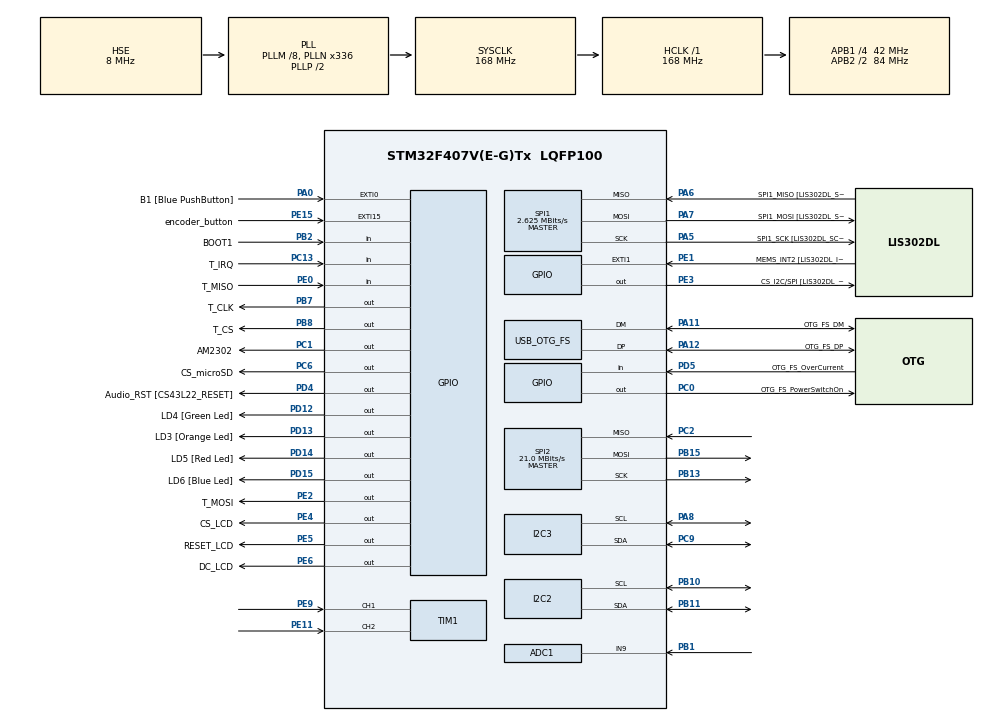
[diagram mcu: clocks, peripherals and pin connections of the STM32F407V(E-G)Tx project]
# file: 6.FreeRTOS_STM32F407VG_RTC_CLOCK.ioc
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ADC1.Channel-6\#ChannelRegularConversion=ADC_CHANNEL_9
ADC1.NbrOfConversionFlag=1
ADC1.Rank-6\#ChannelRegularConversion=1
ADC1.SamplingTime-6\#ChannelRegularConversion=ADC_SAMPLETIME_3CYCLES
ADC1.master=1
Dma.Request0=SPI2_TX
Dma.SPI2_TX.0.Direction=DMA_MEMORY_TO_PERIPH
Dma.SPI2_TX.0.FIFOMode=DMA_FIFOMODE_DISABLE
Dma.SPI2_TX.0.Instance=DMA1_Stream4
Dma.SPI2_TX.0.MemDataAlignment=DMA_MDATAALIGN_BYTE
Dma.SPI2_TX.0.MemInc=DMA_MINC_ENABLE
Dma.SPI2_TX.0.Mode=DMA_CIRCULAR
Dma.SPI2_TX.0.PeriphDataAlignment=DMA_PDATAALIGN_BYTE
Dma.SPI2_TX.0.PeriphInc=DMA_PINC_DISABLE
Dma.SPI2_TX.0.Priority=DMA_PRIORITY_LOW
FREERTOS.Queues01=UARTQueue,10,QUEUE_t,0,Static,UARTQueueBuffer,UARTQueueControlBlock;LCDQueue,1,LCDQUEUE,0,Static,LCDQueueBuffer,LCDQueueControlBlock
FREERTOS.Tasks01=defaultTask,24,128,StartDefaultTask,Default,NULL,Static,defaultTaskBuffer,defaultTaskControlBlock;Show_Resources,8,500,Start_Show_Resources,Default,NULL,Static,Show_ResourcesBuffer,Show_ResourcesControlBlock;UART_Task,8,500,Start_UART_Task,Default,NULL,Static,UART_TaskBuffer,UART_TaskControlBlock;RTC,8,256,Start_RTC,Default,NULL,Static,RTCBuffer,RTCControlBlock
FREERTOS.configGENERATE_RUN_TIME_STATS=1
FREERTOS.configTOTAL_HEAP_SIZE=16000
FREERTOS.configUSE_NEWLIB_REENTRANT=1
FREERTOS.configUSE_STATS_FORMATTING_FUNCTIONS=1
I2C2.I2C_Mode=I2C_Standard
I2C3.I2C_Mode=I2C_Fast
Mcu.Family=STM32F4
Mcu.Name=STM32F407V(E-G)Tx
Mcu.Package=LQFP100
NVIC.DMA1_Stream4_IRQn=true\:5\:0\:true\:false\:true\:true\:false\:true
NVIC.EXTI15_10_IRQn=true\:5\:0\:true\:false\:true\:true\:true\:true
NVIC.OTG_FS_IRQn=true\:5\:0\:false\:false\:true\:true\:true\:true
NVIC.PriorityGroup=NVIC_PRIORITYGROUP_4
NVIC.SPI2_IRQn=true\:5\:0\:false\:false\:true\:true\:true\:true
NVIC.TIM1_UP_TIM10_IRQn=true\:5\:0\:false\:false\:true\:false\:false\:true
NVIC.TIM3_IRQn=true\:5\:0\:false\:false\:true\:true\:true\:true
NVIC.TIM7_IRQn=true\:5\:0\:true\:false\:true\:true\:true\:true
NVIC.TIM8_TRG_COM_TIM14_IRQn=true\:15\:0\:false\:false\:true\:false\:false\:true
NVIC.TimeBase=TIM8_TRG_COM_TIM14_IRQn
NVIC.TimeBaseIP=TIM14
PA0-WKUP.GPIO_Label=B1 [Blue PushButton]
PA0-WKUP.GPIO_ModeDefaultEXTI=GPIO_MODE_EVT_RISING
PA0-WKUP.GPIO_PuPd=GPIO_NOPULL
PA0-WKUP.Signal=GPXTI0
PA10.GPIO_Label=OTG_FS_ID
PA10.GPIO_Mode=GPIO_MODE_AF_PP
PA10.GPIO_PuPd=GPIO_NOPULL
PA10.GPIO_Speed=GPIO_SPEED_FREQ_LOW
PA10.Signal=USB_OTG_FS_ID
PA11.GPIO_Label=OTG_FS_DM
PA11.GPIO_Mode=GPIO_MODE_AF_PP
PA11.GPIO_PuPd=GPIO_NOPULL
PA11.GPIO_Speed=GPIO_SPEED_FREQ_LOW
PA11.Mode=Device_Only
PA11.Signal=USB_OTG_FS_DM
PA12.GPIO_Label=OTG_FS_DP
PA12.GPIO_Mode=GPIO_MODE_AF_PP
PA12.GPIO_PuPd=GPIO_NOPULL
PA12.GPIO_Speed=GPIO_SPEED_FREQ_LOW
PA12.Mode=Device_Only
PA12.Signal=USB_OTG_FS_DP
PA13.GPIO_Label=SWDIO
PA13.Mode=Serial_Wire
PA13.Signal=SYS_JTMS-SWDIO
PA14.GPIO_Label=SWCLK
PA14.Mode=Serial_Wire
PA14.Signal=SYS_JTCK-SWCLK
PA4.GPIO_Label=I2S3_WS [CS43L22_LRCK]
PA4.GPIO_Mode=GPIO_MODE_AF_PP
PA4.GPIO_PuPd=GPIO_NOPULL
PA4.GPIO_Speed=GPIO_SPEED_FREQ_LOW
PA4.Signal=I2S3_WS
PA5.GPIO_Label=SPI1_SCK [LIS302DL_SCL/SPC]
PA5.GPIO_Mode=GPIO_MODE_AF_PP
PA5.GPIO_PuPd=GPIO_NOPULL
PA5.GPIO_Speed=GPIO_SPEED_FREQ_HIGH
PA5.Mode=Full_Duplex_Master
PA5.Signal=SPI1_SCK
PA6.GPIO_Label=SPI1_MISO [LIS302DL_SDO]
PA6.GPIO_Mode=GPIO_MODE_AF_PP
PA6.GPIO_PuPd=GPIO_NOPULL
PA6.GPIO_Speed=GPIO_SPEED_FREQ_HIGH
PA6.Mode=Full_Duplex_Master
PA6.Signal=SPI1_MISO
PA7.GPIO_Label=SPI1_MOSI [LIS302DL_SDA/SDI/SDO]
PA7.GPIO_Mode=GPIO_MODE_AF_PP
PA7.GPIO_PuPd=GPIO_NOPULL
PA7.GPIO_Speed=GPIO_SPEED_FREQ_HIGH
PA7.Mode=Full_Duplex_Master
PA7.Signal=SPI1_MOSI
PA8.Mode=I2C
PA8.Signal=I2C3_SCL
PA9.GPIO_Label=VBUS_FS
PA9.GPIO_Mode=GPIO_MODE_INPUT
PA9.GPIO_PuPd=GPIO_NOPULL
PA9.Signal=USB_OTG_FS_VBUS
PB1.Signal=ADCx_IN9
PB10.Mode=I2C
PB10.Signal=I2C2_SCL
PB11.Mode=I2C
PB11.Signal=I2C2_SDA
PB13.Mode=Full_Duplex_Master
PB13.Signal=SPI2_SCK
PB15.Mode=Full_Duplex_Master
PB15.Signal=SPI2_MOSI
PB2.GPIO_Label=BOOT1
PB2.GPIO_Mode=GPIO_MODE_INPUT
PB2.GPIO_PuPd=GPIO_NOPULL
PB2.Signal=GPIO_Input
PB3.GPIO_Label=SWO
PB3.Signal=SYS_JTDO-SWO
PB6.GPIO_Label=Audio_SCL [CS43L22_SCL]
PB6.GPIO_Mode=GPIO_MODE_AF_OD
PB6.GPIO_Pu=GPIO_PULLUP
PB6.GPIO_PuPd=GPIO_NOPULL
PB6.GPIO_Speed=GPIO_SPEED_FREQ_LOW
PB6.Signal=I2C1_SCL
PB7.GPIO_Label=T_CLK
PB7.GPIO_Speed=GPIO_SPEED_FREQ_VERY_HIGH
PB7.Signal=GPIO_Output
PB8.GPIO_Label=T_CS
PB8.GPIO_Speed=GPIO_SPEED_FREQ_VERY_HIGH
PB8.Signal=GPIO_Output
PB9.GPIO_Label=Audio_SDA [CS43L22_SDA]
PB9.GPIO_Mode=GPIO_MODE_AF_OD
PB9.GPIO_Pu=GPIO_PULLUP
PB9.GPIO_PuPd=GPIO_NOPULL
PB9.GPIO_Speed=GPIO_SPEED_FREQ_LOW
PB9.Signal=I2C1_SDA
PC0.GPIO_Label=OTG_FS_PowerSwitchOn
PC0.GPIO_PuPd=GPIO_NOPULL
PC0.GPIO_Speed=GPIO_SPEED_FREQ_LOW
PC0.PinState=GPIO_PIN_SET
PC0.Signal=GPIO_Output
PC1.GPIO_Label=AM2302
PC1.Signal=GPIO_Output
PC10.GPIO_Label=I2S3_SCK [CS43L22_SCLK]
PC10.GPIO_Mode=GPIO_MODE_AF_PP
PC10.GPIO_PuPd=GPIO_NOPULL
PC10.GPIO_Speed=GPIO_SPEED_FREQ_LOW
PC10.Signal=I2S3_CK
PC12.GPIO_Label=I2S3_SD [CS43L22_SDIN]
PC12.GPIO_Mode=GPIO_MODE_AF_PP
PC12.GPIO_PuPd=GPIO_NOPULL
PC12.GPIO_Speed=GPIO_SPEED_FREQ_LOW
PC12.Signal=I2S3_SD
PC13-ANTI_TAMP.GPIO_Label=T_IRQ
PC13-ANTI_TAMP.Signal=GPIO_Input
PC14-OSC32_IN.GPIO_Label=PC14-OSC32_IN
PC14-OSC32_IN.Mode=LSE-External-Oscillator
PC14-OSC32_IN.Signal=RCC_OSC32_IN
PC15-OSC32_OUT.GPIO_Label=PC15-OSC32_OUT
PC15-OSC32_OUT.Mode=LSE-External-Oscillator
PC15-OSC32_OUT.Signal=RCC_OSC32_OUT
PC2.Mode=Full_Duplex_Master
PC2.Signal=SPI2_MISO
PC3.GPIO_Label=PDM_OUT [MP45DT02_DOUT]
PC3.GPIO_Mode=GPIO_MODE_AF_PP
PC3.GPIO_PuPd=GPIO_NOPULL
PC3.GPIO_Speed=GPIO_SPEED_FREQ_LOW
PC3.Signal=I2S2_SD
PC6.GPIO_Label=CS_microSD
PC6.GPIO_Speed=GPIO_SPEED_FREQ_HIGH
PC6.Signal=GPIO_Output
PC7.GPIO_Label=I2S3_MCK [CS43L22_MCLK]
PC7.GPIO_Mode=GPIO_MODE_AF_PP
PC7.GPIO_PuPd=GPIO_NOPULL
PC7.GPIO_Speed=GPIO_SPEED_FREQ_LOW
PC7.Signal=I2S3_MCK
PC9.Mode=I2C
PC9.Signal=I2C3_SDA
PD12.GPIO_Label=LD4 [Green Led]
PD12.GPIO_PuPd=GPIO_NOPULL
PD12.GPIO_Speed=GPIO_SPEED_FREQ_LOW
PD12.Signal=GPIO_Output
PD13.GPIO_Label=LD3 [Orange Led]
PD13.GPIO_PuPd=GPIO_NOPULL
PD13.GPIO_Speed=GPIO_SPEED_FREQ_LOW
PD13.Signal=GPIO_Output
PD14.GPIO_Label=LD5 [Red Led]
PD14.GPIO_PuPd=GPIO_NOPULL
PD14.GPIO_Speed=GPIO_SPEED_FREQ_LOW
PD14.Signal=GPIO_Output
PD15.GPIO_Label=LD6 [Blue Led]
PD15.GPIO_PuPd=GPIO_NOPULL
PD15.GPIO_Speed=GPIO_SPEED_FREQ_LOW
PD15.Signal=GPIO_Output
PD4.GPIO_Label=Audio_RST [CS43L22_RESET]
PD4.GPIO_PuPd=GPIO_NOPULL
PD4.GPIO_Speed=GPIO_SPEED_FREQ_LOW
PD4.Signal=GPIO_Output
PD5.GPIO_Label=OTG_FS_OverCurrent
PD5.GPIO_Mode=GPIO_MODE_INPUT
PD5.GPIO_PuPd=GPIO_NOPULL
PD5.Signal=GPIO_Input
PE0.GPIO_Label=T_MISO
PE0.Signal=GPIO_Input
PE1.GPIO_Label=MEMS_INT2 [LIS302DL_INT2]
PE1.GPIO_ModeDefaultEXTI=GPIO_MODE_EVT_RISING
PE1.GPIO_PuPd=GPIO_NOPULL
PE1.Signal=GPXTI1
PE11.Signal=S_TIM1_CH2
PE15.GPIO_Label=encoder_button
PE15.GPIO_ModeDefaultEXTI=GPIO_MODE_IT_FALLING
PE15.Signal=GPXTI15
PE2.GPIO_Label=T_MOSI
PE2.Signal=GPIO_Output
PE3.GPIO_Label=CS_I2C/SPI [LIS302DL_CS_I2C/SPI]
PE3.GPIO_PuPd=GPIO_NOPULL
PE3.GPIO_Speed=GPIO_SPEED_FREQ_LOW
PE3.Signal=GPIO_Output
PE4.GPIO_Label=CS_LCD
PE4.Signal=GPIO_Output
PE5.GPIO_Label=RESET_LCD
PE5.GPIO_Speed=GPIO_SPEED_FREQ_VERY_HIGH
PE5.Signal=GPIO_Output
PE6.GPIO_Label=DC_LCD
PE6.GPIO_Speed=GPIO_SPEED_FREQ_VERY_HIGH
PE6.Signal=GPIO_Output
PE9.Signal=S_TIM1_CH1
PH0-OSC_IN.GPIO_Label=PH0-OSC_IN
PH0-OSC_IN.Mode=HSE-External-Oscillator
PH0-OSC_IN.Signal=RCC_OSC_IN
PH1-OSC_OUT.GPIO_Label=PH1-OSC_OUT
PH1-OSC_OUT.Mode=HSE-External-Oscillator
PH1-OSC_OUT.Signal=RCC_OSC_OUT
ProjectManager.HeapSize=0x800
ProjectManager.StackSize=0x900
ProjectManager.TargetToolchain=STM32CubeIDE
RCC.48MHZClocksFreq_Value=48000000
RCC.AHBFreq_Value=168000000
RCC.APB1CLKDivider=RCC_HCLK_DIV4
RCC.APB1Freq_Value=42000000
RCC.APB1TimFreq_Value=84000000
RCC.APB2CLKDivider=RCC_HCLK_DIV2
RCC.APB2Freq_Value=84000000
RCC.APB2TimFreq_Value=168000000
RCC.CortexFreq_Value=168000000
RCC.HCLKFreq_Value=168000000
RCC.HSE_VALUE=8000000
RCC.HSI_VALUE=16000000
RCC.PLLM=8
RCC.PLLN=336
RCC.PLLQ=7
RCC.RCC_RTC_Clock_Source=RCC_RTCCLKSOURCE_LSE
RCC.RCC_RTC_Clock_SourceVirtual=RCC_RTCCLKSOURCE_LSE
RCC.SYSCLKFreq_VALUE=168000000
RCC.SYSCLKSource=RCC_SYSCLKSOURCE_PLLCLK
RCC.VCOOutputFreq_Value=336000000
SH.ADCx_IN9.0=ADC1_IN9,IN9
SH.S_TIM1_CH1.0=TIM1_CH1,Encoder_Interface
SH.S_TIM1_CH2.0=TIM1_CH2,Encoder_Interface
SPI1.BaudRatePrescaler=SPI_BAUDRATEPRESCALER_32
SPI1.CalculateBaudRate=2.625 MBits/s
SPI1.Direction=SPI_DIRECTION_2LINES
SPI1.Mode=SPI_MODE_MASTER
SPI1.VirtualType=VM_MASTER
SPI2.CalculateBaudRate=21.0 MBits/s
SPI2.Direction=SPI_DIRECTION_2LINES
SPI2.Mode=SPI_MODE_MASTER
SPI2.VirtualType=VM_MASTER
TIM10.AutoReloadPreload=TIM_AUTORELOAD_PRELOAD_ENABLE
TIM10.Period=10-1
TIM10.Prescaler=168-1
TIM3.AutoReloadPreload=TIM_AUTORELOAD_PRELOAD_ENABLE
TIM3.Period=10
TIM3.Prescaler=839
TIM7.Period=100-1
TIM7.Prescaler=8400-1
USB_DEVICE.CLASS_NAME_FS=CDC
USB_DEVICE.VirtualMode-CDC_FS=Cdc
USB_DEVICE.VirtualModeFS=Cdc_FS
USB_OTG_FS.VirtualMode=Device_Only
VP_FREERTOS_VS_CMSIS_V2.Mode=CMSIS_V2
VP_RNG_VS_RNG.Mode=RNG_Activate
VP_SYS_VS_tim14.Mode=TIM14
VP_TIM10_VS_ClockSourceINT.Mode=Enable_Timer
VP_TIM3_VS_ClockSourceINT.Mode=Internal
VP_TIM7_VS_ClockSourceINT.Mode=Enable_Timer
VP_USB_DEVICE_VS_USB_DEVICE_CDC_FS.Mode=CDC_FS
board=STM32F407G-DISC1

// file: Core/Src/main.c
/* USER CODE BEGIN Header */
/**
  ******************************************************************************
  * @file           : main.c
  * @brief          : Main program body
  ******************************************************************************
  * @attention
  *
  * <h2><center>&copy; Copyright (c) 2021 STMicroelectronics.
  * All rights reserved.</center></h2>
  *
  * This software component is licensed by ST under Ultimate Liberty license
  * SLA0044, the "License"; You may not use this file except in compliance with
  * the License. You may obtain a copy of the License at:
  *                             www.st.com/SLA0044
  *
  ******************************************************************************
  */
/* USER CODE END Header */
#include "main.h"
#include "cmsis_os.h"
#include "usb_device.h"
#include "usb_device.h"

/* USER CODE BEGIN Includes */
#include "string.h"
#include "usbd_cdc_if.h"
#include "task.h"
#include <stdio.h>
#include <stdbool.h>

// Oled
#include "oled/oled.h"
#include "oled/gfx.h"

#include "clock/i2c_scanner.h"
#include "clock/DS3231.h"

/* USER CODE END Includes */

typedef StaticTask_t osStaticThreadDef_t;
typedef StaticQueue_t osStaticMessageQDef_t;
/* USER CODE BEGIN PTD */
typedef struct 							// Queue for UARD
{
	char Buf[1024];
}QUEUE_t;

typedef struct							// Queue for Touch LCD
{
	char buff[100];
}LCDQUEUE;

volatile unsigned long ulHighFreqebcyTimerTicks;		// This variable using for calculate how many time all tasks was running.
char str_management_memory_str[1000] = {0};
int freemem = 0;

// LCD //////////////////////////////////
extern uint16_t TFT9341_WIDTH;
extern uint16_t TFT9341_HEIGHT;
// LCD DMA
uint8_t dma_spi_fl=0;
uint32_t dma_spi_cnt=1;
////////////////////////////////////////

// Encoder
int32_t currCounter = 0;
int32_t prevCounter = 0;
int klick = 0;

/* USER CODE END PTD */

ADC_HandleTypeDef hadc1;

I2C_HandleTypeDef hi2c2;
I2C_HandleTypeDef hi2c3;

RNG_HandleTypeDef hrng;

SPI_HandleTypeDef hspi1;
SPI_HandleTypeDef hspi2;
DMA_HandleTypeDef hdma_spi2_tx;

TIM_HandleTypeDef htim1;
TIM_HandleTypeDef htim3;
TIM_HandleTypeDef htim7;
TIM_HandleTypeDef htim10;

/* Definitions for defaultTask */
osThreadId_t defaultTaskHandle;
uint32_t defaultTaskBuffer[ 128 ];
osStaticThreadDef_t defaultTaskControlBlock;
const osThreadAttr_t defaultTask_attributes = {
  .name = "defaultTask",
  .cb_mem = &defaultTaskControlBlock,
  .cb_size = sizeof(defaultTaskControlBlock),
  .stack_mem = &defaultTaskBuffer[0],
  .stack_size = sizeof(defaultTaskBuffer),
  .priority = (osPriority_t) osPriorityNormal,
};
/* Definitions for Show_Resources */
osThreadId_t Show_ResourcesHandle;
uint32_t Show_ResourcesBuffer[ 500 ];
osStaticThreadDef_t Show_ResourcesControlBlock;
const osThreadAttr_t Show_Resources_attributes = {
  .name = "Show_Resources",
  .cb_mem = &Show_ResourcesControlBlock,
  .cb_size = sizeof(Show_ResourcesControlBlock),
  .stack_mem = &Show_ResourcesBuffer[0],
  .stack_size = sizeof(Show_ResourcesBuffer),
  .priority = (osPriority_t) osPriorityLow,
};
/* Definitions for UART_Task */
osThreadId_t UART_TaskHandle;
uint32_t UART_TaskBuffer[ 500 ];
osStaticThreadDef_t UART_TaskControlBlock;
const osThreadAttr_t UART_Task_attributes = {
  .name = "UART_Task",
  .cb_mem = &UART_TaskControlBlock,
  .cb_size = sizeof(UART_TaskControlBlock),
  .stack_mem = &UART_TaskBuffer[0],
  .stack_size = sizeof(UART_TaskBuffer),
  .priority = (osPriority_t) osPriorityLow,
};
/* Definitions for RTC */
osThreadId_t RTCHandle;
uint32_t RTCBuffer[ 256 ];
osStaticThreadDef_t RTCControlBlock;
const osThreadAttr_t RTC_attributes = {
  .name = "RTC",
  .cb_mem = &RTCControlBlock,
  .cb_size = sizeof(RTCControlBlock),
  .stack_mem = &RTCBuffer[0],
  .stack_size = sizeof(RTCBuffer),
  .priority = (osPriority_t) osPriorityLow,
};
/* Definitions for UARTQueue */
osMessageQueueId_t UARTQueueHandle;
uint8_t UARTQueueBuffer[ 10 * sizeof( QUEUE_t ) ];
osStaticMessageQDef_t UARTQueueControlBlock;
const osMessageQueueAttr_t UARTQueue_attributes = {
  .name = "UARTQueue",
  .cb_mem = &UARTQueueControlBlock,
  .cb_size = sizeof(UARTQueueControlBlock),
  .mq_mem = &UARTQueueBuffer,
  .mq_size = sizeof(UARTQueueBuffer)
};
/* Definitions for LCDQueue */
osMessageQueueId_t LCDQueueHandle;
uint8_t LCDQueueBuffer[ 1 * sizeof( LCDQUEUE ) ];
osStaticMessageQDef_t LCDQueueControlBlock;
const osMessageQueueAttr_t LCDQueue_attributes = {
  .name = "LCDQueue",
  .cb_mem = &LCDQueueControlBlock,
  .cb_size = sizeof(LCDQueueControlBlock),
  .mq_mem = &LCDQueueBuffer,
  .mq_size = sizeof(LCDQueueBuffer)
};
/* USER CODE BEGIN PV */

//--------------------------------------------------------------------------------
// For DMA SPI2 (LCD)
void HAL_SPI_TxCpltCallback(SPI_HandleTypeDef *hspi)
{
	if(hspi == &hspi2)
	{
	    dma_spi_cnt--;
	    if(dma_spi_cnt==0)
	    {
	    	HAL_SPI_DMAStop(&hspi2);
	    	dma_spi_cnt=1;
	    	dma_spi_fl=1;
	    }
	}
}
// ---------------------------------------------------------------------------------

/* USER CODE END PV */

void SystemClock_Config(void);
static void MX_GPIO_Init(void);
static void MX_TIM3_Init(void);
static void MX_I2C3_Init(void);
static void MX_TIM10_Init(void);
static void MX_SPI1_Init(void);
static void MX_SPI2_Init(void);
static void MX_DMA_Init(void);
static void MX_RNG_Init(void);
static void MX_I2C2_Init(void);
static void MX_ADC1_Init(void);
static void MX_TIM1_Init(void);
static void MX_TIM7_Init(void);
void StartDefaultTask(void *argument);
void Start_Show_Resources(void *argument);
void Start_UART_Task(void *argument);
void Start_RTC(void *argument);

int main(void)
{

  /* MCU Configuration--------------------------------------------------------*/

  /* Reset of all peripherals, Initializes the Flash interface and the Systick. */
  HAL_Init();

  /* Configure the system clock */
  SystemClock_Config();

  /* Initialize all configured peripherals */
  MX_GPIO_Init();
  MX_TIM3_Init();
  MX_I2C3_Init();
  MX_TIM10_Init();
  MX_SPI1_Init();
  MX_SPI2_Init();
  MX_DMA_Init();
  MX_RNG_Init();
  MX_I2C2_Init();
  MX_ADC1_Init();
  MX_TIM1_Init();
  MX_TIM7_Init();
  /* USER CODE BEGIN 2 */
  HAL_TIM_Base_Start_IT(&htim3);		//  This TIM3 using for calculate how many time all tasks was running.

  /* IF LCD DOESN'T WORK !
  RIGHT IN RIGHT ORDER SPI2 AND DMA !!!!
  MX_DMA_Init();
  MX_SPI2_Init();
  */
  HAL_DMA_DeInit(&hdma_spi2_tx);
  HAL_SPI_DeInit(&hspi2);
  MX_DMA_Init();
  MX_SPI2_Init();

  /* USER CODE END 2 */

  /* Init scheduler */
  osKernelInitialize();

  /* Create the queue(s) */
  /* creation of UARTQueue */
  UARTQueueHandle = osMessageQueueNew (10, sizeof(QUEUE_t), &UARTQueue_attributes);

  /* creation of LCDQueue */
  LCDQueueHandle = osMessageQueueNew (1, sizeof(LCDQUEUE), &LCDQueue_attributes);

  /* Create the thread(s) */
  /* creation of defaultTask */
  defaultTaskHandle = osThreadNew(StartDefaultTask, NULL, &defaultTask_attributes);

  /* creation of Show_Resources */
  Show_ResourcesHandle = osThreadNew(Start_Show_Resources, NULL, &Show_Resources_attributes);

  /* creation of UART_Task */
  UART_TaskHandle = osThreadNew(Start_UART_Task, NULL, &UART_Task_attributes);

  /* creation of RTC */
  RTCHandle = osThreadNew(Start_RTC, NULL, &RTC_attributes);

  /* Start scheduler */
  osKernelStart();

  /* We should never get here as control is now taken by the scheduler */
  /* Infinite loop */
  while (1)
  {

  }
}

void SystemClock_Config(void)
{
  RCC_OscInitTypeDef RCC_OscInitStruct = {0};
  RCC_ClkInitTypeDef RCC_ClkInitStruct = {0};

  /** Configure the main internal regulator output voltage
  */
  __HAL_RCC_PWR_CLK_ENABLE();
  __HAL_PWR_VOLTAGESCALING_CONFIG(PWR_REGULATOR_VOLTAGE_SCALE1);
  /** Initializes the RCC Oscillators according to the specified parameters
  * in the RCC_OscInitTypeDef structure.
  */
  RCC_OscInitStruct.OscillatorType = RCC_OSCILLATORTYPE_HSE;
  RCC_OscInitStruct.HSEState = RCC_HSE_ON;
  RCC_OscInitStruct.PLL.PLLState = RCC_PLL_ON;
  RCC_OscInitStruct.PLL.PLLSource = RCC_PLLSOURCE_HSE;
  RCC_OscInitStruct.PLL.PLLM = 8;
  RCC_OscInitStruct.PLL.PLLN = 336;
  RCC_OscInitStruct.PLL.PLLP = RCC_PLLP_DIV2;
  RCC_OscInitStruct.PLL.PLLQ = 7;
  if (HAL_RCC_OscConfig(&RCC_OscInitStruct) != HAL_OK)
  {
    Error_Handler();
  }
  /** Initializes the CPU, AHB and APB buses clocks
  */
  RCC_ClkInitStruct.ClockType = RCC_CLOCKTYPE_HCLK|RCC_CLOCKTYPE_SYSCLK
                              |RCC_CLOCKTYPE_PCLK1|RCC_CLOCKTYPE_PCLK2;
  RCC_ClkInitStruct.SYSCLKSource = RCC_SYSCLKSOURCE_PLLCLK;
  RCC_ClkInitStruct.AHBCLKDivider = RCC_SYSCLK_DIV1;
  RCC_ClkInitStruct.APB1CLKDivider = RCC_HCLK_DIV4;
  RCC_ClkInitStruct.APB2CLKDivider = RCC_HCLK_DIV2;

  if (HAL_RCC_ClockConfig(&RCC_ClkInitStruct, FLASH_LATENCY_5) != HAL_OK)
  {
    Error_Handler();
  }
}

static void MX_ADC1_Init(void)
{

  ADC_ChannelConfTypeDef sConfig = {0};

  /** Configure the global features of the ADC (Clock, Resolution, Data Alignment and number of conversion)
  */
  hadc1.Instance = ADC1;
  hadc1.Init.ClockPrescaler = ADC_CLOCK_SYNC_PCLK_DIV4;
  hadc1.Init.Resolution = ADC_RESOLUTION_12B;
  hadc1.Init.ScanConvMode = DISABLE;
  hadc1.Init.ContinuousConvMode = DISABLE;
  hadc1.Init.DiscontinuousConvMode = DISABLE;
  hadc1.Init.ExternalTrigConvEdge = ADC_EXTERNALTRIGCONVEDGE_NONE;
  hadc1.Init.ExternalTrigConv = ADC_SOFTWARE_START;
  hadc1.Init.DataAlign = ADC_DATAALIGN_RIGHT;
  hadc1.Init.NbrOfConversion = 1;
  hadc1.Init.DMAContinuousRequests = DISABLE;
  hadc1.Init.EOCSelection = ADC_EOC_SINGLE_CONV;
  if (HAL_ADC_Init(&hadc1) != HAL_OK)
  {
    Error_Handler();
  }
  /** Configure for the selected ADC regular channel its corresponding rank in the sequencer and its sample time.
  */
  sConfig.Channel = ADC_CHANNEL_9;
  sConfig.Rank = 1;
  sConfig.SamplingTime = ADC_SAMPLETIME_3CYCLES;
  if (HAL_ADC_ConfigChannel(&hadc1, &sConfig) != HAL_OK)
  {
    Error_Handler();
  }

}

static void MX_I2C2_Init(void)
{

  hi2c2.Instance = I2C2;
  hi2c2.Init.ClockSpeed = 100000;
  hi2c2.Init.DutyCycle = I2C_DUTYCYCLE_2;
  hi2c2.Init.OwnAddress1 = 0;
  hi2c2.Init.AddressingMode = I2C_ADDRESSINGMODE_7BIT;
  hi2c2.Init.DualAddressMode = I2C_DUALADDRESS_DISABLE;
  hi2c2.Init.OwnAddress2 = 0;
  hi2c2.Init.GeneralCallMode = I2C_GENERALCALL_DISABLE;
  hi2c2.Init.NoStretchMode = I2C_NOSTRETCH_DISABLE;
  if (HAL_I2C_Init(&hi2c2) != HAL_OK)
  {
    Error_Handler();
  }

}

static void MX_I2C3_Init(void)
{

  hi2c3.Instance = I2C3;
  hi2c3.Init.ClockSpeed = 400000;
  hi2c3.Init.DutyCycle = I2C_DUTYCYCLE_2;
  hi2c3.Init.OwnAddress1 = 0;
  hi2c3.Init.AddressingMode = I2C_ADDRESSINGMODE_7BIT;
  hi2c3.Init.DualAddressMode = I2C_DUALADDRESS_DISABLE;
  hi2c3.Init.OwnAddress2 = 0;
  hi2c3.Init.GeneralCallMode = I2C_GENERALCALL_DISABLE;
  hi2c3.Init.NoStretchMode = I2C_NOSTRETCH_DISABLE;
  if (HAL_I2C_Init(&hi2c3) != HAL_OK)
  {
    Error_Handler();
  }

}

static void MX_RNG_Init(void)
{

  hrng.Instance = RNG;
  if (HAL_RNG_Init(&hrng) != HAL_OK)
  {
    Error_Handler();
  }

}

static void MX_SPI1_Init(void)
{

  /* SPI1 parameter configuration*/
  hspi1.Instance = SPI1;
  hspi1.Init.Mode = SPI_MODE_MASTER;
  hspi1.Init.Direction = SPI_DIRECTION_2LINES;
  hspi1.Init.DataSize = SPI_DATASIZE_8BIT;
  hspi1.Init.CLKPolarity = SPI_POLARITY_LOW;
  hspi1.Init.CLKPhase = SPI_PHASE_1EDGE;
  hspi1.Init.NSS = SPI_NSS_SOFT;
  hspi1.Init.BaudRatePrescaler = SPI_BAUDRATEPRESCALER_32;
  hspi1.Init.FirstBit = SPI_FIRSTBIT_MSB;
  hspi1.Init.TIMode = SPI_TIMODE_DISABLE;
  hspi1.Init.CRCCalculation = SPI_CRCCALCULATION_DISABLE;
  hspi1.Init.CRCPolynomial = 10;
  if (HAL_SPI_Init(&hspi1) != HAL_OK)
  {
    Error_Handler();
  }

}

static void MX_SPI2_Init(void)
{

  /* SPI2 parameter configuration*/
  hspi2.Instance = SPI2;
  hspi2.Init.Mode = SPI_MODE_MASTER;
  hspi2.Init.Direction = SPI_DIRECTION_2LINES;
  hspi2.Init.DataSize = SPI_DATASIZE_8BIT;
  hspi2.Init.CLKPolarity = SPI_POLARITY_LOW;
  hspi2.Init.CLKPhase = SPI_PHASE_1EDGE;
  hspi2.Init.NSS = SPI_NSS_SOFT;
  hspi2.Init.BaudRatePrescaler = SPI_BAUDRATEPRESCALER_2;
  hspi2.Init.FirstBit = SPI_FIRSTBIT_MSB;
  hspi2.Init.TIMode = SPI_TIMODE_DISABLE;
  hspi2.Init.CRCCalculation = SPI_CRCCALCULATION_DISABLE;
  hspi2.Init.CRCPolynomial = 10;
  if (HAL_SPI_Init(&hspi2) != HAL_OK)
  {
    Error_Handler();
  }

}

static void MX_TIM1_Init(void)
{

  TIM_Encoder_InitTypeDef sConfig = {0};
  TIM_MasterConfigTypeDef sMasterConfig = {0};

  htim1.Instance = TIM1;
  htim1.Init.Prescaler = 0;
  htim1.Init.CounterMode = TIM_COUNTERMODE_UP;
  htim1.Init.Period = 65535;
  htim1.Init.ClockDivision = TIM_CLOCKDIVISION_DIV1;
  htim1.Init.RepetitionCounter = 0;
  htim1.Init.AutoReloadPreload = TIM_AUTORELOAD_PRELOAD_DISABLE;
  sConfig.EncoderMode = TIM_ENCODERMODE_TI1;
  sConfig.IC1Polarity = TIM_ICPOLARITY_RISING;
  sConfig.IC1Selection = TIM_ICSELECTION_DIRECTTI;
  sConfig.IC1Prescaler = TIM_ICPSC_DIV1;
  sConfig.IC1Filter = 0;
  sConfig.IC2Polarity = TIM_ICPOLARITY_RISING;
  sConfig.IC2Selection = TIM_ICSELECTION_DIRECTTI;
  sConfig.IC2Prescaler = TIM_ICPSC_DIV1;
  sConfig.IC2Filter = 0;
  if (HAL_TIM_Encoder_Init(&htim1, &sConfig) != HAL_OK)
  {
    Error_Handler();
  }
  sMasterConfig.MasterOutputTrigger = TIM_TRGO_RESET;
  sMasterConfig.MasterSlaveMode = TIM_MASTERSLAVEMODE_DISABLE;
  if (HAL_TIMEx_MasterConfigSynchronization(&htim1, &sMasterConfig) != HAL_OK)
  {
    Error_Handler();
  }

}

static void MX_TIM3_Init(void)
{

  TIM_ClockConfigTypeDef sClockSourceConfig = {0};
  TIM_MasterConfigTypeDef sMasterConfig = {0};

  htim3.Instance = TIM3;
  htim3.Init.Prescaler = 839;
  htim3.Init.CounterMode = TIM_COUNTERMODE_UP;
  htim3.Init.Period = 10;
  htim3.Init.ClockDivision = TIM_CLOCKDIVISION_DIV1;
  htim3.Init.AutoReloadPreload = TIM_AUTORELOAD_PRELOAD_ENABLE;
  if (HAL_TIM_Base_Init(&htim3) != HAL_OK)
  {
    Error_Handler();
  }
  sClockSourceConfig.ClockSource = TIM_CLOCKSOURCE_INTERNAL;
  if (HAL_TIM_ConfigClockSource(&htim3, &sClockSourceConfig) != HAL_OK)
  {
    Error_Handler();
  }
  sMasterConfig.MasterOutputTrigger = TIM_TRGO_RESET;
  sMasterConfig.MasterSlaveMode = TIM_MASTERSLAVEMODE_DISABLE;
  if (HAL_TIMEx_MasterConfigSynchronization(&htim3, &sMasterConfig) != HAL_OK)
  {
    Error_Handler();
  }

}

static void MX_TIM7_Init(void)
{

  TIM_MasterConfigTypeDef sMasterConfig = {0};

  htim7.Instance = TIM7;
  htim7.Init.Prescaler = 8400-1;
  htim7.Init.CounterMode = TIM_COUNTERMODE_UP;
  htim7.Init.Period = 100-1;
  htim7.Init.AutoReloadPreload = TIM_AUTORELOAD_PRELOAD_DISABLE;
  if (HAL_TIM_Base_Init(&htim7) != HAL_OK)
  {
    Error_Handler();
  }
  sMasterConfig.MasterOutputTrigger = TIM_TRGO_RESET;
  sMasterConfig.MasterSlaveMode = TIM_MASTERSLAVEMODE_DISABLE;
  if (HAL_TIMEx_MasterConfigSynchronization(&htim7, &sMasterConfig) != HAL_OK)
  {
    Error_Handler();
  }

}

static void MX_TIM10_Init(void)
{

  htim10.Instance = TIM10;
  htim10.Init.Prescaler = 168-1;
  htim10.Init.CounterMode = TIM_COUNTERMODE_UP;
  htim10.Init.Period = 10-1;
  htim10.Init.ClockDivision = TIM_CLOCKDIVISION_DIV1;
  htim10.Init.AutoReloadPreload = TIM_AUTORELOAD_PRELOAD_ENABLE;
  if (HAL_TIM_Base_Init(&htim10) != HAL_OK)
  {
    Error_Handler();
  }

}

static void MX_DMA_Init(void)
{

  /* DMA controller clock enable */
  __HAL_RCC_DMA1_CLK_ENABLE();

  /* DMA interrupt init */
  /* DMA1_Stream4_IRQn interrupt configuration */
  HAL_NVIC_SetPriority(DMA1_Stream4_IRQn, 5, 0);
  HAL_NVIC_EnableIRQ(DMA1_Stream4_IRQn);

}

static void MX_GPIO_Init(void)
{
  GPIO_InitTypeDef GPIO_InitStruct = {0};

  /* GPIO Ports Clock Enable */
  __HAL_RCC_GPIOE_CLK_ENABLE();
  __HAL_RCC_GPIOC_CLK_ENABLE();
  __HAL_RCC_GPIOH_CLK_ENABLE();
  __HAL_RCC_GPIOA_CLK_ENABLE();
  __HAL_RCC_GPIOB_CLK_ENABLE();
  __HAL_RCC_GPIOD_CLK_ENABLE();

  /*Configure GPIO pin Output Level */
  HAL_GPIO_WritePin(GPIOE, T_MOSI_Pin|CS_I2C_SPI_Pin|CS_LCD_Pin|RESET_LCD_Pin
                          |DC_LCD_Pin, GPIO_PIN_RESET);

  /*Configure GPIO pin Output Level */
  HAL_GPIO_WritePin(OTG_FS_PowerSwitchOn_GPIO_Port, OTG_FS_PowerSwitchOn_Pin, GPIO_PIN_SET);

  /*Configure GPIO pin Output Level */
  HAL_GPIO_WritePin(GPIOC, AM2302_Pin|CS_microSD_Pin, GPIO_PIN_RESET);

  /*Configure GPIO pin Output Level */
  HAL_GPIO_WritePin(GPIOD, LD4_Pin|LD3_Pin|LD5_Pin|LD6_Pin
                          |Audio_RST_Pin, GPIO_PIN_RESET);

  /*Configure GPIO pin Output Level */
  HAL_GPIO_WritePin(GPIOB, T_CLK_Pin|T_CS_Pin, GPIO_PIN_RESET);

  /*Configure GPIO pins : T_MOSI_Pin CS_I2C_SPI_Pin CS_LCD_Pin */
  GPIO_InitStruct.Pin = T_MOSI_Pin|CS_I2C_SPI_Pin|CS_LCD_Pin;
  GPIO_InitStruct.Mode = GPIO_MODE_OUTPUT_PP;
  GPIO_InitStruct.Pull = GPIO_NOPULL;
  GPIO_InitStruct.Speed = GPIO_SPEED_FREQ_LOW;
  HAL_GPIO_Init(GPIOE, &GPIO_InitStruct);

  /*Configure GPIO pins : RESET_LCD_Pin DC_LCD_Pin */
  GPIO_InitStruct.Pin = RESET_LCD_Pin|DC_LCD_Pin;
  GPIO_InitStruct.Mode = GPIO_MODE_OUTPUT_PP;
  GPIO_InitStruct.Pull = GPIO_NOPULL;
  GPIO_InitStruct.Speed = GPIO_SPEED_FREQ_VERY_HIGH;
  HAL_GPIO_Init(GPIOE, &GPIO_InitStruct);

  /*Configure GPIO pin : T_IRQ_Pin */
  GPIO_InitStruct.Pin = T_IRQ_Pin;
  GPIO_InitStruct.Mode = GPIO_MODE_INPUT;
  GPIO_InitStruct.Pull = GPIO_NOPULL;
  HAL_GPIO_Init(T_IRQ_GPIO_Port, &GPIO_InitStruct);

  /*Configure GPIO pins : OTG_FS_PowerSwitchOn_Pin AM2302_Pin */
  GPIO_InitStruct.Pin = OTG_FS_PowerSwitchOn_Pin|AM2302_Pin;
  GPIO_InitStruct.Mode = GPIO_MODE_OUTPUT_PP;
  GPIO_InitStruct.Pull = GPIO_NOPULL;
  GPIO_InitStruct.Speed = GPIO_SPEED_FREQ_LOW;
  HAL_GPIO_Init(GPIOC, &GPIO_InitStruct);

  /*Configure GPIO pin : PDM_OUT_Pin */
  GPIO_InitStruct.Pin = PDM_OUT_Pin;
  GPIO_InitStruct.Mode = GPIO_MODE_AF_PP;
  GPIO_InitStruct.Pull = GPIO_NOPULL;
  GPIO_InitStruct.Speed = GPIO_SPEED_FREQ_LOW;
  GPIO_InitStruct.Alternate = GPIO_AF5_SPI2;
  HAL_GPIO_Init(PDM_OUT_GPIO_Port, &GPIO_InitStruct);

  /*Configure GPIO pin : B1_Pin */
  GPIO_InitStruct.Pin = B1_Pin;
  GPIO_InitStruct.Mode = GPIO_MODE_EVT_RISING;
  GPIO_InitStruct.Pull = GPIO_NOPULL;
  HAL_GPIO_Init(B1_GPIO_Port, &GPIO_InitStruct);

  /*Configure GPIO pin : I2S3_WS_Pin */
  GPIO_InitStruct.Pin = I2S3_WS_Pin;
  GPIO_InitStruct.Mode = GPIO_MODE_AF_PP;
  GPIO_InitStruct.Pull = GPIO_NOPULL;
  GPIO_InitStruct.Speed = GPIO_SPEED_FREQ_LOW;
  GPIO_InitStruct.Alternate = GPIO_AF6_SPI3;
  HAL_GPIO_Init(I2S3_WS_GPIO_Port, &GPIO_InitStruct);

  /*Configure GPIO pin : BOOT1_Pin */
  GPIO_InitStruct.Pin = BOOT1_Pin;
  GPIO_InitStruct.Mode = GPIO_MODE_INPUT;
  GPIO_InitStruct.Pull = GPIO_NOPULL;
  HAL_GPIO_Init(BOOT1_GPIO_Port, &GPIO_InitStruct);

  /*Configure GPIO pin : encoder_button_Pin */
  GPIO_InitStruct.Pin = encoder_button_Pin;
  GPIO_InitStruct.Mode = GPIO_MODE_IT_FALLING;
  GPIO_InitStruct.Pull = GPIO_NOPULL;
  HAL_GPIO_Init(encoder_button_GPIO_Port, &GPIO_InitStruct);

  /*Configure GPIO pins : LD4_Pin LD3_Pin LD5_Pin LD6_Pin
                           Audio_RST_Pin */
  GPIO_InitStruct.Pin = LD4_Pin|LD3_Pin|LD5_Pin|LD6_Pin
                          |Audio_RST_Pin;
  GPIO_InitStruct.Mode = GPIO_MODE_OUTPUT_PP;
  GPIO_InitStruct.Pull = GPIO_NOPULL;
  GPIO_InitStruct.Speed = GPIO_SPEED_FREQ_LOW;
  HAL_GPIO_Init(GPIOD, &GPIO_InitStruct);

  /*Configure GPIO pin : CS_microSD_Pin */
  GPIO_InitStruct.Pin = CS_microSD_Pin;
  GPIO_InitStruct.Mode = GPIO_MODE_OUTPUT_PP;
  GPIO_InitStruct.Pull = GPIO_NOPULL;
  GPIO_InitStruct.Speed = GPIO_SPEED_FREQ_HIGH;
  HAL_GPIO_Init(CS_microSD_GPIO_Port, &GPIO_InitStruct);

  /*Configure GPIO pins : I2S3_MCK_Pin I2S3_SCK_Pin I2S3_SD_Pin */
  GPIO_InitStruct.Pin = I2S3_MCK_Pin|I2S3_SCK_Pin|I2S3_SD_Pin;
  GPIO_InitStruct.Mode = GPIO_MODE_AF_PP;
  GPIO_InitStruct.Pull = GPIO_NOPULL;
  GPIO_InitStruct.Speed = GPIO_SPEED_FREQ_LOW;
  GPIO_InitStruct.Alternate = GPIO_AF6_SPI3;
  HAL_GPIO_Init(GPIOC, &GPIO_InitStruct);

  /*Configure GPIO pin : OTG_FS_OverCurrent_Pin */
  GPIO_InitStruct.Pin = OTG_FS_OverCurrent_Pin;
  GPIO_InitStruct.Mode = GPIO_MODE_INPUT;
  GPIO_InitStruct.Pull = GPIO_NOPULL;
  HAL_GPIO_Init(OTG_FS_OverCurrent_GPIO_Port, &GPIO_InitStruct);

  /*Configure GPIO pins : Audio_SCL_Pin Audio_SDA_Pin */
  GPIO_InitStruct.Pin = Audio_SCL_Pin|Audio_SDA_Pin;
  GPIO_InitStruct.Mode = GPIO_MODE_AF_OD;
  GPIO_InitStruct.Pull = GPIO_PULLUP;
  GPIO_InitStruct.Speed = GPIO_SPEED_FREQ_LOW;
  GPIO_InitStruct.Alternate = GPIO_AF4_I2C1;
  HAL_GPIO_Init(GPIOB, &GPIO_InitStruct);

  /*Configure GPIO pins : T_CLK_Pin T_CS_Pin */
  GPIO_InitStruct.Pin = T_CLK_Pin|T_CS_Pin;
  GPIO_InitStruct.Mode = GPIO_MODE_OUTPUT_PP;
  GPIO_InitStruct.Pull = GPIO_NOPULL;
  GPIO_InitStruct.Speed = GPIO_SPEED_FREQ_VERY_HIGH;
  HAL_GPIO_Init(GPIOB, &GPIO_InitStruct);

  /*Configure GPIO pin : T_MISO_Pin */
  GPIO_InitStruct.Pin = T_MISO_Pin;
  GPIO_InitStruct.Mode = GPIO_MODE_INPUT;
  GPIO_InitStruct.Pull = GPIO_NOPULL;
  HAL_GPIO_Init(T_MISO_GPIO_Port, &GPIO_InitStruct);

  /*Configure GPIO pin : MEMS_INT2_Pin */
  GPIO_InitStruct.Pin = MEMS_INT2_Pin;
  GPIO_InitStruct.Mode = GPIO_MODE_EVT_RISING;
  GPIO_InitStruct.Pull = GPIO_NOPULL;
  HAL_GPIO_Init(MEMS_INT2_GPIO_Port, &GPIO_InitStruct);

  /* EXTI interrupt init*/
  HAL_NVIC_SetPriority(EXTI15_10_IRQn, 5, 0);
  HAL_NVIC_EnableIRQ(EXTI15_10_IRQn);

}

void StartDefaultTask(void *argument)
{
  /* init code for USB_DEVICE */
  MX_USB_DEVICE_Init();
  /* USER CODE BEGIN 5 */
  /* Infinite loop */
  for(;;)
  {
	  osDelay(10);
  }
  /* USER CODE END 5 */
}

void Start_Show_Resources(void *argument)
{
  /* USER CODE BEGIN Start_Show_Resources */
  /* Infinite loop */
  for(;;)
  {
	  osDelay(5000);												// Every 5 second task management will print data

	  char str_end_of_line[3] = {'\r','\n'};
	  char str_sig = '-';
	  char buff[10] = {0};

	  QUEUE_t msg;												// Make a queue
	  memset(msg.Buf, 0, sizeof(msg.Buf));						// Fill in buff '\0'
	  strcat(msg.Buf, ">>>>> Free heap memory: ");				// Add string to another (Total heap)

	  freemem = xPortGetFreeHeapSize();							// Function return how many free memory.
	  itoa(freemem, buff, 10);
	  strcat(msg.Buf, buff);
	  strcat(msg.Buf, str_end_of_line);

	  // add a hat
	  strcat(msg.Buf, "| TASK NAME  | STATUS | PRIOR | STACK | NUM |\n\r\0");

	  vTaskList(str_management_memory_str);						// Fill in str_management_memory_str array management task information

	  // Finding the  end of string
	  uint16_t buffer_size = 0;
	  while(msg.Buf[buffer_size] != '\0')
	  {
	  	buffer_size ++;
	  }

	  // Add str_management_memory_str to queue string
	  int i = 0;
	  for(i = 0; str_management_memory_str[i] != '\0'; i++)
	  {
	  	// add data to queue
	  	msg.Buf[buffer_size + i] = str_management_memory_str[i];
	  }

	  // add a hat
	  char str_line[] = {"-----------------------\n\r"};
	  char str_head_2[] = {"| TASK NAME | ABS TIME | TASK TIME% |\n\r"};
	  strcat(msg.Buf, str_line);
	  strcat(msg.Buf, str_head_2);

	  memset(str_management_memory_str, 0, sizeof(str_management_memory_str));	// Clean buffer

	  vTaskGetRunTimeStats(str_management_memory_str);							// Function return how much time all functions running.

	  buffer_size = buffer_size + i + (sizeof(str_line)-1) + (sizeof(str_head_2)-1);
	  for(i = 0; str_management_memory_str[i] != '\0'; i++)
	  {
	  	// add data to queue
	  	msg.Buf[buffer_size + i] = str_management_memory_str[i];
	  }
	  strcat(msg.Buf, "#########################################\n\r");

	  osMessageQueuePut(UARTQueueHandle, &msg, 0, osWaitForever);					// Write data on queue (In will print on StartUART_Task task)
  }
  /* USER CODE END Start_Show_Resources */
}

void Start_UART_Task(void *argument)
{
  /* USER CODE BEGIN Start_UART_Task */
  /* Infinite loop */
  QUEUE_t msg;
  for(;;)
  {
	// osMessageQueueGet waiting data on a queue (If data are in queue so print it)
	osMessageQueueGet(UARTQueueHandle, &msg, 0, osWaitForever);			// Write for data on queue
	// Counting how many characters will be transmitted
	uint16_t buffer_size = 0;
	while(msg.Buf[buffer_size] != '\0')
	{
		buffer_size ++;
	}
	// Transmit over virtual comport
	CDC_Transmit_FS(msg.Buf, buffer_size);						// Transmit data over virtual comport
    osDelay(1);
  }
  /* USER CODE END Start_UART_Task */
}

void Start_RTC(void *argument)
{
  /* USER CODE BEGIN Start_RTC */
  /* Infinite loop */

	osDelay(1000);

	// For resd time
	char time[20] = {0};
	char date[40] = {0};
	char time_buf[10] = {0};
	char time_buf_2[10] = {0};

	uint8_t seconds = 0;
	uint8_t minutes = 0;
	uint8_t hours = 0;
	uint8_t day = 0;
	uint8_t date_day = 0;
	uint8_t mounth = 0;
	uint8_t year = 0;
	uint8_t status = 9;
	//

	oled_init();
	oled_update();
	ds3231_I2C_init();

	// Encoder
	HAL_TIM_Encoder_Start(&htim1, TIM_CHANNEL_ALL);
	int32_t prevCounter = 0;
	//

	for(;;)
	{
		switch (klick)
		{
			case 0:					// Read time and data from DS3231

				strcat(time_buf, "TIME");
				graphics_text(40, 10, 3, time_buf);
				oled_update();
				osDelay(2000);
				clear();
				oled_update();

				while(klick == 0)
				{
					memset(time, 0, sizeof(time));
					memset(date, 0, sizeof(date));
					memset(time_buf, 0, sizeof(time_buf));
					memset(time_buf_2, 0, sizeof(time_buf_2));

					// 1. Read time from RTS
					// Red status (Detect DS3231)
					uint8_t buff= 0;
					status = HAL_I2C_Mem_Read(&hi2c3, (uint16_t)DS3231_I2C_ADDRESS<<1,(uint16_t)0, (uint16_t) 1, &buff, (uint16_t) 1,(uint32_t) 1000);
					if(status != HAL_OK )								// If DS3231 doesen'e detect
					{
						clear();
						while(status != HAL_OK)							// If ERROR
						{
							strcat(time_buf, "RTC ERROR");
							graphics_text(8, 5, 3, time_buf);
							oled_update();
							memset(time_buf, 0, sizeof(time_buf));
							osDelay(300);

							invert_rectangle(0, 0, 128, 32);
							oled_update();
							osDelay(300);

							clear();
							oled_update();

							status = HAL_I2C_Mem_Read(&hi2c3, (uint16_t)DS3231_I2C_ADDRESS<<1,(uint16_t)0, (uint16_t) 1, &buff, (uint16_t) 1,(uint32_t) 1000);
						}
						clear();
					}

					else	// If all DS3231 detected, read time and date
					{
						ds3231_read(DS3231_REGISTER_SECONDS_DEFAULT, &seconds);
						ds3231_read(DS3231_REGISTER_MINUTES_DEFAULT, &minutes);
						ds3231_read(DS3231_REGISTER_HOURS_DEFAULT, &hours);

						ds3231_read(DS3231_REGISTER_DAY_OF_WEEK_DEFAULT, &day);
						ds3231_read(DS3231_REGISTER_DATE_DEFAULT, &date_day);
						ds3231_read(DS3231_REGISTER_MONTH_DEFAULT, &mounth);
						ds3231_read(DS3231_REGISTER_YEAR_DEFAULT, &year);

						// Convert in string
						// Print minutes on OLED
						if(hours < 10)
						{
							memset(time_buf, 0, sizeof(time_buf));
							sprintf(time_buf, "%c", '0');
							sprintf(time_buf_2, "%d", hours);
							strcat(time_buf, time_buf_2);
							strcat(time, time_buf);
							strcat(time, ":");
						}
						else
						{
							sprintf(time_buf, "%d", hours);
							strcat(time, time_buf);
							strcat(time, ":");
							memset(time_buf, 0, sizeof(time_buf));
						}

						// Print minutes on OLED
						if(minutes < 10)
						{
							memset(time_buf, 0, sizeof(time_buf));
							sprintf(time_buf, "%c", '0');
							sprintf(time_buf_2, "%d", minutes);
							strcat(time_buf, time_buf_2);
							strcat(time, time_buf);
							strcat(time, ":");
						}
						else
						{
							sprintf(time_buf, "%d", minutes);
							strcat(time, time_buf);
							strcat(time, ":");
							memset(time_buf, 0, sizeof(time_buf));
						}

						// Print seconds on OLED
						if(seconds == 0)
						{
							clear();
							oled_update();
						}
						if(seconds < 10)
						{
							memset(time_buf, 0, sizeof(time_buf));
							sprintf(time_buf, "%c", '0');
							sprintf(time_buf_2, "%d", seconds);
							strcat(time_buf, time_buf_2);
							strcat(time, time_buf);
						}
						else
						{
							sprintf(time_buf, "%d", seconds);
							strcat(time, time_buf);
							memset(time_buf, 0, sizeof(time_buf));
						}

						uint8_t second_line = seconds*2;
						line_h(5, second_line, 19, 2, add);
//						line_h(uint8_t x0, uint8_t x1, uint8_t y0, uint8_t width, uint8_t mode);
						//invert_rectangle(5, 15, second_line, 5);

						// Print date
						sprintf(time_buf, "%d", date_day);
						strcat(date, time_buf);
						strcat(date, ".");
						memset(time_buf, 0, sizeof(time_buf));

						sprintf(time_buf, "%d", mounth);
						strcat(date, time_buf);
						strcat(date, ".");
						memset(time_buf, 0, sizeof(time_buf));

						sprintf(time_buf, "%d", year);
						strcat(date, "20");
						strcat(date, time_buf);
						memset(time_buf, 0, sizeof(time_buf));

						// day
						switch (day)
						{
							case 1:
								strcat(date, " Monday");
								break;
							case 2:
								strcat(date, " Tuesday");
								break;
							case 3:
								strcat(date, " Wednesday");
								break;
							case 4:
								strcat(date, " Thursday");
								break;
							case 5:
								strcat(date, " Friday");
								break;
							case 6:
								strcat(date, " Saturday");
								break;
							case 7:
								strcat(date, " Sunday");
								break;
						}

						graphics_text(40, 0, 3, time);
						graphics_text(0, 24, 2, date);
						oled_update();

						osDelay(1000);
					}
				}
		  		break;

			case 1:
				// Set yer
				graphics_text(0, 0, 1, "   SET:");
				graphics_text(0, 8, 1, "YEAR   ");
				oled_update();

				__HAL_TIM_SET_COUNTER(&htim1, 0);								// Start count encoder from 0

				while(klick == 1)
				{
					currCounter = __HAL_TIM_GET_COUNTER(&htim1);
					currCounter = 32767 - ((currCounter-1) & 0xFFFF) / 2;

					if(currCounter != prevCounter)
					{
						prevCounter = currCounter;
						if(currCounter > 100)									// Encoder count from 0 to 100
						{
							__HAL_TIM_SET_COUNTER(&htim1, 0);
							currCounter = 0;
						}
						if(currCounter < 0)
						{
							__HAL_TIM_SET_COUNTER(&htim1, 0);
							currCounter = 0;
						}

						graphics_text(0, 16, 1, "           ");
						oled_update();

						sprintf(time_buf, "%d", currCounter);
						graphics_text(0, 16, 1, time_buf);
						oled_update();
						memset(time_buf, 0, sizeof(time_buf));
					}
				}
				if(klick == 2)
				{
					// write data
					ds3231_set(DS3231_REGISTER_YEAR_DEFAULT, &prevCounter);

					graphics_text(0, 16, 1, "                 ");
					oled_update();

					graphics_text(0, 16, 1, "installed");
					oled_update();

					osDelay(800);

					graphics_text(0, 16, 1, "                 ");
					oled_update();

					klick = 3;
				}
				break;

			case 3:
				// set month
				graphics_text(0, 8, 1, "MONTH");
				oled_update();

				__HAL_TIM_SET_COUNTER(&htim1, 1);								// Start count encoder from 1
				currCounter = 1;

				while(klick == 3)
				{
					currCounter = __HAL_TIM_GET_COUNTER(&htim1);
					currCounter = 32767 - ((currCounter-1) & 0xFFFF) / 2;

					if(currCounter != prevCounter)
					{
						prevCounter = currCounter;

						if(currCounter > 12)
						{
							__HAL_TIM_SET_COUNTER(&htim1, 1);
							currCounter = 1;
						}

						if(currCounter < 1)
						{
							__HAL_TIM_SET_COUNTER(&htim1, 1);
							currCounter = 1;
						}

						graphics_text(0, 16, 1, "           ");
						oled_update();

						sprintf(time_buf, "%d", currCounter);
						graphics_text(0, 16, 1, time_buf);
						oled_update();
						memset(time_buf, 0, sizeof(time_buf));

					}
				}
				if(klick == 4)
				{
					if((currCounter < 1) || (currCounter > 12))
					{
						__HAL_TIM_SET_COUNTER(&htim1, 1);
						prevCounter = 1;
					}

					// write data
					ds3231_set(DS3231_REGISTER_MONTH_DEFAULT, &prevCounter);

					graphics_text(0, 16, 1, "                 ");
					oled_update();

					graphics_text(0, 16, 1, "installed");
					oled_update();

					osDelay(800);

					graphics_text(0, 16, 1, "                 ");
					oled_update();

					klick = 5;
				}

				break;

			case 5:
				// Set date

				graphics_text(0, 8, 1, "              ");
				oled_update();
				graphics_text(0, 8, 1, "DATE");
				oled_update();

				__HAL_TIM_SET_COUNTER(&htim1, 1);								// Start count encoder from 1

				while(klick == 5)
				{
					currCounter = __HAL_TIM_GET_COUNTER(&htim1);
					currCounter = 32767 - ((currCounter-1) & 0xFFFF) / 2;

					if(currCounter != prevCounter)
					{
						prevCounter = currCounter;

						if(currCounter > 31)
						{
							__HAL_TIM_SET_COUNTER(&htim1, 1);					// Encoder count from 1 to 32
							currCounter = 1;
						}
						if(currCounter < 1)
						{
							__HAL_TIM_SET_COUNTER(&htim1, 1);					// Encoder count from 1 to 32
							currCounter = 1;
						}

						graphics_text(0, 16, 1, "           ");
						oled_update();

						sprintf(time_buf, "%d", currCounter);
						graphics_text(0, 16, 1, time_buf);
						oled_update();
						memset(time_buf, 0, sizeof(time_buf));

					}
				}
				if(klick == 6)
				{
					if((currCounter < 1) || (currCounter > 32))
					{
						__HAL_TIM_SET_COUNTER(&htim1, 1);
						prevCounter = 1;
					}

					// write data
					ds3231_set(DS3231_REGISTER_DATE_DEFAULT, &prevCounter);

					graphics_text(0, 16, 1, "                 ");
					oled_update();

					graphics_text(0, 16, 1, "installed");
					oled_update();

					osDelay(800);

					graphics_text(0, 16, 1, "                 ");
					oled_update();

					klick = 7;
				}

				break;

			case 7:
				// Set day of week

				graphics_text(0, 8, 1, "              ");
				oled_update();
				graphics_text(0, 8, 1, "DAY");
				oled_update();

				__HAL_TIM_SET_COUNTER(&htim1, 1);

				while(klick == 7)
				{
					currCounter = __HAL_TIM_GET_COUNTER(&htim1);
					currCounter = 32767 - ((currCounter-1) & 0xFFFF) / 2;

					if(currCounter != prevCounter)
					{
						prevCounter = currCounter;
						if(currCounter > 7)
						{
							__HAL_TIM_SET_COUNTER(&htim1, 1);
							currCounter = 1;
						}
						if(currCounter < 1)
						{
							__HAL_TIM_SET_COUNTER(&htim1, 1);
							currCounter = 1;
						}

						graphics_text(0, 16, 1, "           ");
						oled_update();

						sprintf(time_buf, "%d", currCounter);
						graphics_text(0, 16, 1, time_buf);
						oled_update();
						memset(time_buf, 0, sizeof(time_buf));

					}
				}
				if(klick == 8)
				{
					if((currCounter < 1) || (currCounter > 7))
					{
						__HAL_TIM_SET_COUNTER(&htim1, 1);
						prevCounter = 1;
					}

					// write data
					ds3231_set(DS3231_REGISTER_DAY_OF_WEEK_DEFAULT, &prevCounter);

					graphics_text(0, 16, 1, "                 ");
					oled_update();

					graphics_text(0, 16, 1, "installed");
					oled_update();

					osDelay(800);

					graphics_text(0, 16, 1, "                 ");
					oled_update();

					klick = 9;
				}
				break;

			case 9:
				// Set hour

				graphics_text(0, 8, 1, "              ");
				oled_update();
				graphics_text(0, 8, 1, "HOUR");
				oled_update();

				__HAL_TIM_SET_COUNTER(&htim1, 0);

				while(klick == 9)
				{
					currCounter = __HAL_TIM_GET_COUNTER(&htim1);
					currCounter = 32767 - ((currCounter-1) & 0xFFFF) / 2;

					if(currCounter != prevCounter)
					{
						prevCounter = currCounter;
						if(currCounter > 23)
						{
							__HAL_TIM_SET_COUNTER(&htim1, 0);
							currCounter = 0;
						}
						if(currCounter < 0)
						{
							__HAL_TIM_SET_COUNTER(&htim1, 0);
							currCounter = 0;
						}

						graphics_text(0, 16, 1, "           ");
						oled_update();

						sprintf(time_buf, "%d", currCounter);
						graphics_text(0, 16, 1, time_buf);
						oled_update();
						memset(time_buf, 0, sizeof(time_buf));
					}

					if(klick == 10)
					{
						// write data
						ds3231_set(DS3231_REGISTER_HOURS_DEFAULT, &prevCounter);

						graphics_text(0, 16, 1, "                 ");
						oled_update();

						graphics_text(0, 16, 1, "installed");
						oled_update();

						osDelay(800);

						graphics_text(0, 16, 1, "                 ");
						oled_update();

						klick = 11;
					}
				}
				break;

			case 11:
				// Set minutes

				graphics_text(0, 8, 1, "              ");
				oled_update();
				graphics_text(0, 8, 1, "MINUTES");
				oled_update();

				__HAL_TIM_SET_COUNTER(&htim1, 0);

				while(klick == 11)
				{
					currCounter = __HAL_TIM_GET_COUNTER(&htim1);
					currCounter = 32767 - ((currCounter-1) & 0xFFFF) / 2;

					if(currCounter != prevCounter)
					{
						prevCounter = currCounter;
						if(currCounter > 59)
						{
							__HAL_TIM_SET_COUNTER(&htim1, 0);
							prevCounter = 0;
						}
						if(currCounter < 0)
						{
							__HAL_TIM_SET_COUNTER(&htim1, 0);
							prevCounter = 0;
						}

						graphics_text(0, 16, 1, "           ");
						oled_update();

						sprintf(time_buf, "%d", currCounter);
						graphics_text(0, 16, 1, time_buf);
						oled_update();
						memset(time_buf, 0, sizeof(time_buf));
					}
				}
				if(klick == 12)
				{
					// write data
					ds3231_set(DS3231_REGISTER_MINUTES_DEFAULT, &prevCounter);

					graphics_text(0, 16, 1, "                 ");
					oled_update();

					graphics_text(0, 16, 1, "installed");
					oled_update();

					osDelay(800);

					graphics_text(0, 16, 1, "                 ");
					oled_update();

					klick = 13;
				}
				break;

			case 13:
				// Set minutes

				graphics_text(0, 8, 1, "              ");
				oled_update();
				graphics_text(0, 8, 1, "SECONDS");
				oled_update();

				__HAL_TIM_SET_COUNTER(&htim1, 0);

				while(klick == 13)
				{
					currCounter = __HAL_TIM_GET_COUNTER(&htim1);
					currCounter = 32767 - ((currCounter-1) & 0xFFFF) / 2;

					if(currCounter != prevCounter)
					{
						prevCounter = currCounter;
						if(currCounter > 59)
						{
							__HAL_TIM_SET_COUNTER(&htim1, 0);
							currCounter = 0;
						}
						if(currCounter < 0)
						{
							__HAL_TIM_SET_COUNTER(&htim1, 0);
							currCounter = 0;
						}
						graphics_text(0, 16, 1, "           ");
						oled_update();

						sprintf(time_buf, "%d", currCounter);
						graphics_text(0, 16, 1, time_buf);
						oled_update();
						memset(time_buf, 0, sizeof(time_buf));
					}
				}
				if(klick == 14)
				{
					// write data
					ds3231_set(DS3231_REGISTER_SECONDS_DEFAULT, &prevCounter);

					graphics_text(0, 16, 1, "                 ");
					oled_update();

					graphics_text(0, 16, 1, "installed");
					oled_update();

					osDelay(800);

					graphics_text(0, 16, 1, "                 ");
					oled_update();

					klick = 15;
				}
				break;

			case 15:		// EXIT

				osDelay(500);
				clear();
				oled_update();

				for(uint8_t q = 0; q < 3; q ++)
				{
					graphics_text(20, 16, 2, "THE TIME IS SET");
					oled_update();
					osDelay(400);

					clear();
					oled_update();
					osDelay(200);
				}
				klick = 0;					// Return to show time

				break;
		}
	}
  /* USER CODE END Start_RTC */
}

void HAL_TIM_PeriodElapsedCallback(TIM_HandleTypeDef *htim)
{
  /* USER CODE BEGIN Callback 0 */

	// Handler for count how many time works any tasks
	if(htim->Instance == TIM3)
	{
		ulHighFreqebcyTimerTicks++;					// Update time tasks counter
	}

  /* USER CODE END Callback 0 */
  if (htim->Instance == TIM14) {
    HAL_IncTick();
  }
}

void Error_Handler(void)
{
  __disable_irq();
  while (1)
  {
  }
}

/************************ (C) COPYRIGHT STMicroelectronics *****END OF FILE****/
